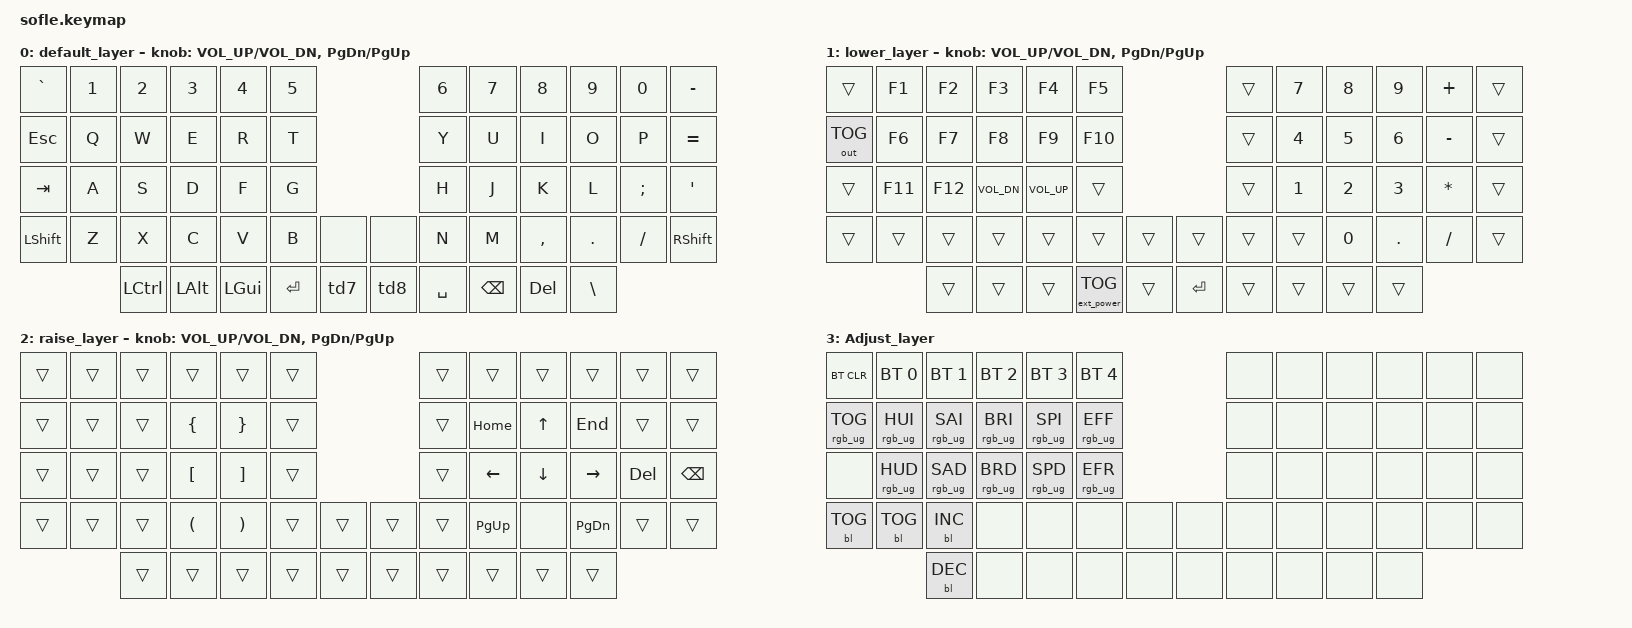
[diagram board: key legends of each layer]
/*
 * Copyright (c) 2020 The ZMK Contributors
 *
 * SPDX-License-Identifier: MIT
 */

#include <behaviors.dtsi>
#include <dt-bindings/zmk/bt.h>
#include <dt-bindings/zmk/rgb.h>
#include <dt-bindings/zmk/keys.h>
#include <dt-bindings/zmk/outputs.h>
#include <dt-bindings/zmk/ext_power.h>
#include <dt-bindings/zmk/backlight.h>

// Define Layer
#define BASE 0
#define LOWER 1
#define RAISE 2
#define ADJUST 3


	// active F_row mod-tap by 300ms
		&mt {
			tapping-term-ms = <300>;
			};
 
/ {
	// Activate ADJUST layer by pressing raise and lower
		conditional_layers {
			compatible = "zmk,conditional-layers";
			adjust_layer {
				if-layers = <LOWER RAISE>;
				then-layer = <ADJUST>;
			};
		};
	
	//Double tap low layer to lock
		behaviors {
			td7: Lower_layer {
				compatible = "zmk,behavior-tap-dance";
				label = "LOWER_layer";
				#binding-cells = <0>;
				tapping-term-ms = <400>;
				bindings = <&mo LOWER>, <&tog LOWER>;
			};
		};
		
		
	//Double tap raise layer to lock
		behaviors {
			td8: Raise_layer {
				compatible = "zmk,behavior-tap-dance";
				label = "RAISE_layer";
				#binding-cells = <0>;
				tapping-term-ms = <400>;
				bindings = <&mo RAISE>, <&tog RAISE>;
			};
		};	
	
    keymap {
        compatible = "zmk,keymap";

        default_layer {
// ------------------------------------------------------------------------------------------------------------
// |  `    |  1  |  2  |  3   |  4   |  5  |                      |  6   |   7   |  8    |  9   |   0   | MINUS |
// |  ESC  |  Q  |  W  |  E   |  R   |  T  |                      |  Y   |   U   |  I    |  O   |   P   | EQUAL |
// |  TAB  |  A  |  S  |  D   |  F   |  G  |                      |  H   |   J   |  K    |  L   |   ;   |   '   |
// |  SHIFT|  Z  |  X  |  C   |  V   |  B  |      |       |       |  N   |   M   |  ,    |  .   |   /   | SHIFT |
//               |CTRL | ALT  | GUI  |ENTER| LOWER|       | RAISE | SPACE|  BSPC | DEL   |  \   |
            bindings = <
&kp GRAVE  	&kp N1     &kp N2      &kp N3      &kp N4       &kp N5                                &kp N6        &kp N7       &kp N8        &kp N9      &kp N0       &kp MINUS
&kp ESC   	&kp Q  	   &kp W       &kp E       &kp R        &kp T                                 &kp Y         &kp U        &kp I         &kp O       &kp P        &kp EQUAL
&kp TAB  	&kp A  	   &kp S       &kp D       &kp F        &kp G                                 &kp H         &kp J        &kp K         &kp L       &kp SEMI     &kp SQT
&kp LSHFT	&kp Z  	   &kp X       &kp C       &kp V        &kp B      &none           &none      &kp N         &kp M        &kp COMMA     &kp DOT     &kp FSLH     &kp RSHFT
					   &kp LCTRL   &kp LALT	   &kp LGUI	    &kp ENTER  &td7            &td8       &kp SPACE     &kp BSPC     &kp DEL      &kp BSLH
            >;

            sensor-bindings = <&inc_dec_kp C_VOL_UP C_VOL_DN &inc_dec_kp PG_DN PG_UP>;
        };

        lower_layer {
// TODO: Some binds are waiting for shifted keycode support.
// ------------------------------------------------------------------------------------------------------------
// |      |F1 |F2 |F3   |F4   |F5    |                    |     | 7 | 8 | 9 | + |     |
// |USB/BT|F6 |F7 |F8   |F9   |F10   |                    |     | 4 | 5 | 6 | - |     |
// |      |F11|F12|VolDn|VolUP|      |                    |     | 1 | 2 | 3 | * |     |
// |      |   |   |     |     |      |      |       |     |     |   | 0 | . | / |     |
//            |   |     |     |ON/OFF|      |       |ENTER|     |   |   |   |   |
            bindings = <
&trans        &kp F1  &kp F2  &kp F3       &kp F4        &kp F5                                    &trans    &kp N7  &kp N8   &kp N9    &kp PLUS    &trans
&out OUT_TOG  &kp F6  &kp F7  &kp F8       &kp F9        &kp F10                                   &trans    &kp N4  &kp N5   &kp N6    &kp MINUS   &trans
&trans        &kp F11 &kp F12 &kp C_VOL_DN &kp C_VOL_UP  &trans                 	                  &trans    &kp N1  &kp N2   &kp N3    &kp ASTRK   &trans
&trans        &trans  &trans  &trans       &trans        &trans              &trans      &trans    &trans    &trans  &kp N0   &kp DOT   &kp SLASH   &trans
                      &trans  &trans       &trans        &ext_power EP_TOG   &trans      &kp ENTER &trans    &trans  &trans   &trans
            >;

            sensor-bindings = <&inc_dec_kp C_VOL_UP C_VOL_DN &inc_dec_kp PG_DN PG_UP>;
        };

        raise_layer {
// ------------------------------------------------------------------------------------------------------------
// |   |   |   |   |   |   |                   |    |    |      |     |    |     |
// |   |   |   | { | } |   |                   |    |PGUP|  up  |PGDN |    |     |
// |   |   |   | [ | ] |   |                   |    |left| down |right|DEL |BKSPC|
// |   |   |   | ( | ] |   |    | 		 |     |    |HOME|      |END  |    |     |
//         |   |   |   |   |    | 		 |     |    |    |      |     |
            bindings = <
&trans  &trans  &trans  &trans   &trans   &trans                       &trans    &trans    &trans    &trans     &trans   &trans
&trans  &trans  &trans  &kp LBRC &kp RBRC &trans                       &trans    &kp HOME  &kp UP    &kp END    &trans   &trans
&trans  &trans  &trans  &kp LBKT &kp RBKT &trans                   	   &trans    &kp LEFT  &kp DOWN  &kp RIGHT  &kp DEL  &kp BSPC
&trans  &trans 	&trans 	&kp LPAR &kp RPAR &trans  &trans       &trans  &trans    &kp PG_UP &none     &kp PG_DN    &trans   &trans
                &trans  &trans   &trans   &trans  &trans       &trans  &trans    &trans    &trans    &trans
            >;

            sensor-bindings = <&inc_dec_kp C_VOL_UP C_VOL_DN &inc_dec_kp PG_DN PG_UP>;
        };

// ------------------------------------------------------------------------------------------------------------
// |BTCLR  | BT1    | BT2   |  BT3  |  BT4  |  BT5  |                        |   |   |   |   |   |   |
// |RGB_TOG|RGB_HUI |RGB_SAI|RGB_BRI|RGB_SPI|RGB_EFF|                        |   |   |   |   |   |   |
// |       |RGB_HUD |RGB_SAD|RGB_BRD|RGB_SPD|RGB_EFR|                        |   |   |   |   |   |   |
// |BL_TOG |BL_CYCLE| BL_INC|       |       |       |       |         |      |   |   |   |   |   |   |
//                  | BL_DEC|       |       |       |       |         |      |   |   |   |   |

        Adjust_layer {
        bindings = <
&bt BT_CLR          &bt BT_SEL 0    &bt BT_SEL 1    &bt BT_SEL 2     &bt BT_SEL 3     &bt BT_SEL 4                                    &none &none &none &none &none &none
&rgb_ug RGB_TOG 	&rgb_ug RGB_HUI &rgb_ug RGB_SAI &rgb_ug RGB_BRI  &rgb_ug RGB_SPI  &rgb_ug RGB_EFF 								  &none &none &none &none &none &none
&none               &rgb_ug RGB_HUD &rgb_ug RGB_SAD &rgb_ug RGB_BRD  &rgb_ug RGB_SPD  &rgb_ug RGB_EFR                                 &none &none &none &none &none &none
&bl BL_TOG          &bl BL_TOG      &bl BL_INC      &none            &none            &none               &none              &none    &none &none &none &none &none &none
                                    &bl BL_DEC      &none            &none            &none               &none              &none    &none &none &none &none
        >;
        };

    };
};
